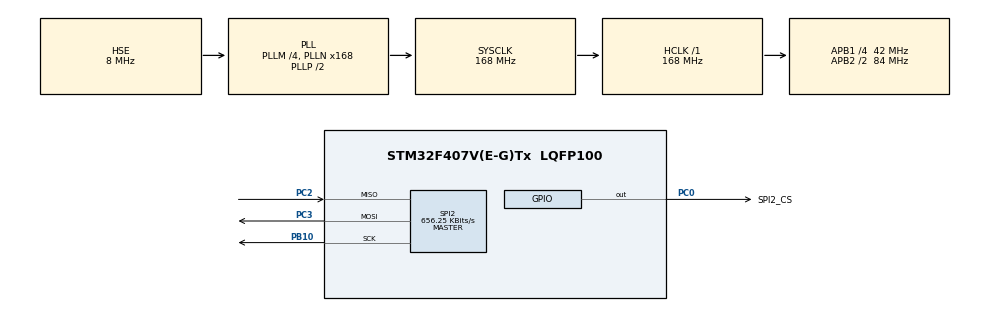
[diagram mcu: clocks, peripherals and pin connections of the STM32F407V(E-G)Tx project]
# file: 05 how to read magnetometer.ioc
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Mcu.Family=STM32F4
Mcu.Name=STM32F407V(E-G)Tx
Mcu.Package=LQFP100
NVIC.PriorityGroup=NVIC_PRIORITYGROUP_0
PA13.Mode=Serial_Wire
PA13.Signal=SYS_JTMS-SWDIO
PA14.Mode=Serial_Wire
PA14.Signal=SYS_JTCK-SWCLK
PB10.Mode=Full_Duplex_Master
PB10.Signal=SPI2_SCK
PB3.Signal=SYS_JTDO-SWO
PC0.GPIO_Label=SPI2_CS
PC0.PinState=GPIO_PIN_SET
PC0.Signal=GPIO_Output
PC2.Mode=Full_Duplex_Master
PC2.Signal=SPI2_MISO
PC3.Mode=Full_Duplex_Master
PC3.Signal=SPI2_MOSI
PH0-OSC_IN.Mode=HSE-External-Oscillator
PH0-OSC_IN.Signal=RCC_OSC_IN
PH1-OSC_OUT.Mode=HSE-External-Oscillator
PH1-OSC_OUT.Signal=RCC_OSC_OUT
ProjectManager.HeapSize=0x200
ProjectManager.StackSize=0x400
ProjectManager.TargetToolchain=STM32CubeIDE
RCC.48MHZClocksFreq_Value=48000000
RCC.AHBFreq_Value=168000000
RCC.APB1CLKDivider=RCC_HCLK_DIV4
RCC.APB1Freq_Value=42000000
RCC.APB1TimFreq_Value=84000000
RCC.APB2CLKDivider=RCC_HCLK_DIV2
RCC.APB2Freq_Value=84000000
RCC.APB2TimFreq_Value=168000000
RCC.CortexFreq_Value=168000000
RCC.HCLKFreq_Value=168000000
RCC.HSE_VALUE=8000000
RCC.HSI_VALUE=16000000
RCC.LSE_VALUE=32768
RCC.PLLM=4
RCC.PLLN=168
RCC.PLLQ=7
RCC.PLLSourceVirtual=RCC_PLLSOURCE_HSE
RCC.SYSCLKFreq_VALUE=168000000
RCC.SYSCLKSource=RCC_SYSCLKSOURCE_PLLCLK
RCC.VCOOutputFreq_Value=336000000
SPI2.BaudRatePrescaler=SPI_BAUDRATEPRESCALER_64
SPI2.CLKPhase=SPI_PHASE_2EDGE
SPI2.CLKPolarity=SPI_POLARITY_HIGH
SPI2.CalculateBaudRate=656.25 KBits/s
SPI2.Direction=SPI_DIRECTION_2LINES
SPI2.Mode=SPI_MODE_MASTER
SPI2.VirtualType=VM_MASTER
STMicroelectronics.X-CUBE-ALGOBUILD.1.3.0.LibraryCcDSPOoLibraryJjDSPOoLibrary=true
VP_STMicroelectronics.X-CUBE-ALGOBUILD_VS_DSPOoLibraryJjLibrary_1.3.0_1.3.0.Mode=DSPOoLibraryJjLibrary
board=STM32F407G-DISC1

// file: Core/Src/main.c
/* USER CODE BEGIN Header */
/**
  ******************************************************************************
  * @file           : main.c
  * @brief          : Main program body
  ******************************************************************************
  * @attention
  *
  * Copyright (c) 2024 STMicroelectronics.
  * All rights reserved.
  *
  * This software is licensed under terms that can be found in the LICENSE file
  * in the root directory of this software component.
  * If no LICENSE file comes with this software, it is provided AS-IS.
  *
  ******************************************************************************
  */
/* USER CODE END Header */
#include "main.h"
#include "spi.h"
#include "gpio.h"

/* USER CODE BEGIN Includes */
#include "mpu9250.h"
#include "stdio.h"

/* USER CODE END Includes */

/* USER CODE BEGIN PV */
float accel_pitch, accel_roll;
/* USER CODE END PV */

void SystemClock_Config(void);

/* USER CODE BEGIN 0 */

mpu_data imu_data;
/* USER CODE END 0 */

int main(void)
{

  /* MCU Configuration--------------------------------------------------------*/

  /* Reset of all peripherals, Initializes the Flash interface and the Systick. */
  HAL_Init();

  /* Configure the system clock */
  SystemClock_Config();

  /* Initialize all configured peripherals */
  MX_GPIO_Init();
  MX_SPI2_Init();
  /* USER CODE BEGIN 2 */
  mpu_init();
  /* USER CODE END 2 */

  /* Infinite loop */
  /* USER CODE BEGIN WHILE */
  while (1)
  {
	 //(1000);
	 mpu_read_sensor(&imu_data);
	 accel_roll = imu_data.accelro_magneto_rpy.roll;
	 accel_pitch = imu_data.accelro_magneto_rpy.pitch;

	 printf("Accelero roll : %f\n", accel_roll);
	 printf("Accelero pitch : %f\n", accel_pitch);
	 //printf("Gyro : %d, %d, and %d \n", imu_data.x_gyro, imu_data.y_gyro, imu_data.z_gyro);
	 //printf("Magneto : %d, %d, and %d \n", imu_data.x_mag, imu_data.y_mag, imu_data.z_mag);

    /* USER CODE END WHILE */

  }
}

void SystemClock_Config(void)
{
  RCC_OscInitTypeDef RCC_OscInitStruct = {0};
  RCC_ClkInitTypeDef RCC_ClkInitStruct = {0};

  /** Configure the main internal regulator output voltage
  */
  __HAL_RCC_PWR_CLK_ENABLE();
  __HAL_PWR_VOLTAGESCALING_CONFIG(PWR_REGULATOR_VOLTAGE_SCALE1);

  /** Initializes the RCC Oscillators according to the specified parameters
  * in the RCC_OscInitTypeDef structure.
  */
  RCC_OscInitStruct.OscillatorType = RCC_OSCILLATORTYPE_HSE;
  RCC_OscInitStruct.HSEState = RCC_HSE_ON;
  RCC_OscInitStruct.PLL.PLLState = RCC_PLL_ON;
  RCC_OscInitStruct.PLL.PLLSource = RCC_PLLSOURCE_HSE;
  RCC_OscInitStruct.PLL.PLLM = 4;
  RCC_OscInitStruct.PLL.PLLN = 168;
  RCC_OscInitStruct.PLL.PLLP = RCC_PLLP_DIV2;
  RCC_OscInitStruct.PLL.PLLQ = 7;
  if (HAL_RCC_OscConfig(&RCC_OscInitStruct) != HAL_OK)
  {
    Error_Handler();
  }

  /** Initializes the CPU, AHB and APB buses clocks
  */
  RCC_ClkInitStruct.ClockType = RCC_CLOCKTYPE_HCLK|RCC_CLOCKTYPE_SYSCLK
                              |RCC_CLOCKTYPE_PCLK1|RCC_CLOCKTYPE_PCLK2;
  RCC_ClkInitStruct.SYSCLKSource = RCC_SYSCLKSOURCE_PLLCLK;
  RCC_ClkInitStruct.AHBCLKDivider = RCC_SYSCLK_DIV1;
  RCC_ClkInitStruct.APB1CLKDivider = RCC_HCLK_DIV4;
  RCC_ClkInitStruct.APB2CLKDivider = RCC_HCLK_DIV2;

  if (HAL_RCC_ClockConfig(&RCC_ClkInitStruct, FLASH_LATENCY_5) != HAL_OK)
  {
    Error_Handler();
  }
}

/* USER CODE BEGIN 4 */
int _write(int file, char *ptr, int len)
{
	int DataIdx;
	for(DataIdx = 0; DataIdx < len; DataIdx++)
		ITM_SendChar(*ptr++);
	return len;
}
/* USER CODE END 4 */

void Error_Handler(void)
{
  __disable_irq();
  while (1)
  {
  }
}
